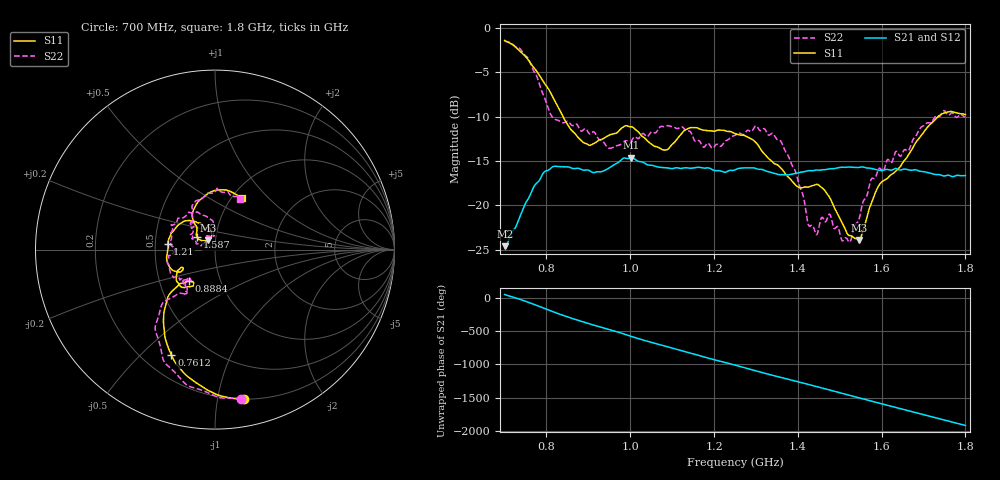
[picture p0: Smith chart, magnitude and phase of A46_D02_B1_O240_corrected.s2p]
! Created with skrf 1.9.0 (http://scikit-rf.org).
# Hz S RI R 50.0
!freq ReS11 ImS11 ReS21 ImS21 ReS12 ImS12 ReS22 ImS22
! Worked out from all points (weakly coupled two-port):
!   1601 points, 700 MHz to 1.8 GHz, reference 50 ohm
!   highest |S21| = -14.62 dB at 1.002 GHz (marker M1); lowest = -24.6 dB at 701.4 MHz (marker M2)
!   lowest |S11| = -23.9 dB at 1.546 GHz (marker M3), VSWR 1.14, Z = 46 + j4.69 ohm
!   |S11| at or under -10 dB: 839.3 MHz to 1.735 GHz (895.3 MHz wide, 69.6 % of centre)
!   |S22| runs from -24.2 to -1.5 dB; largest |S21 - S12| = 0.0034
!   S11 on the Smith chart (normalised r, x): 700 MHz: 0.20, -1.19; 761.2 MHz: 0.32, -0.62; 888.4 MHz: 0.71, -0.26; 1.21 GHz: 0.58, +0.04; 1.587 GHz: 0.81, +0.11; 1.8 GHz: 1.11, +0.72
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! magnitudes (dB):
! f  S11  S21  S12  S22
! 700 MHz  -1.4  -24.6  -24.4  -1.5
! 701.4 MHz  -1.4  -24.6  -24.2  -1.5
! 761.2 MHz  -3.9  -18.8  -18.7  -3.9
! 814.1 MHz  -7.7  -15.7  -15.7  -10.1
! 883.6 MHz  -12.7  -16.0  -15.9  -11.6
! 888.4 MHz  -12.9  -16.0  -15.9  -11.5
! 950.2 MHz  -12.1  -15.8  -15.8  -13.6
! 1.002 GHz  -11.1  -14.6  -14.7  -12.7
! 1.067 GHz  -13.5  -15.7  -15.6  -11.4
! 1.141 GHz  -11.3  -15.8  -15.8  -11.6
! 1.21 GHz  -11.5  -16.1  -16.1  -13.2
! 1.25 GHz  -11.9  -16.0  -15.9  -12.1
! 1.3 GHz  -12.9  -15.9  -15.8  -11.0
! 1.359 GHz  -15.8  -16.6  -16.5  -12.7
! 1.434 GHz  -17.8  -16.1  -16.1  -22.2
! 1.476 GHz  -19.1  -15.9  -15.9  -21.0
! 1.522 GHz  -23.4  -15.7  -15.7  -24.1
! 1.546 GHz  -23.9  -15.7  -15.7  -21.5
! 1.587 GHz  -18.4  -16.0  -16.0  -16.7
! 1.617 GHz  -16.8  -16.0  -16.0  -14.9
! 1.737 GHz  -9.9  -16.5  -16.6  -10.0
! 1.8 GHz  -9.8  -16.6  -16.6  -10.1
